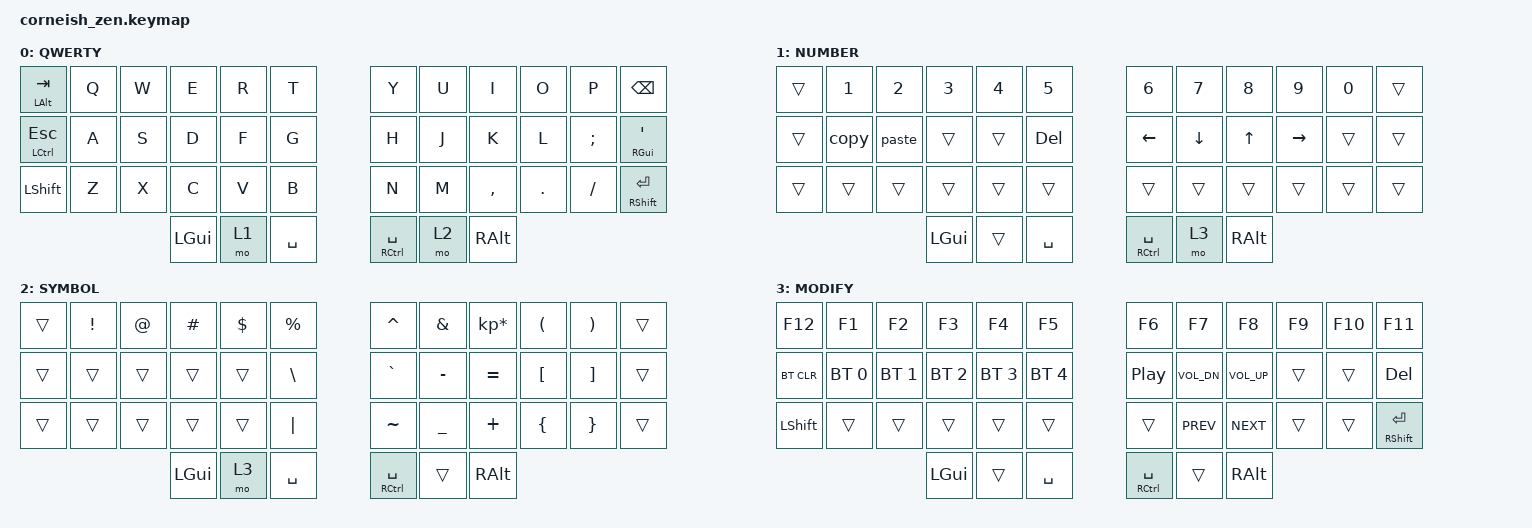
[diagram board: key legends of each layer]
#include <behaviors.dtsi>
#include <dt-bindings/zmk/keys.h>
#include <dt-bindings/zmk/bt.h>

/ {
  chosen {
    zmk,matrix_transform = &default_transform;
  };
};

/ {
    macros {
        paste: paste {
            label = "PASTE";
            compatible = "zmk,behavior-macro";
            #binding-cells = <0>;
            bindings
                = <&macro_press &kp LSHFT>
                , <&macro_tap &kp INS>
                , <&macro_release &kp LSHFT>
                ;
        };
        copy: copy {
            label = "COPY";
            compatible = "zmk,behavior-macro";
            #binding-cells = <0>;
            bindings
                = <&macro_press &kp LCTRL>
                , <&macro_tap &kp INS>
                , <&macro_release &kp LCTRL>
                ;
        };
    };
};

/ {
    behaviors {
        cst: custom_tap {
            label = "Custom Tap";
            compatible = "zmk,behavior-hold-tap";
            flavor = "balanced";
            #binding-cells = <2>;
            tapping-term-ms = <150>;
            quick-tap-ms = <150>;
            require-prior-idle-ms = <125>;
            bindings = <&kp>, <&kp>;
        };
        tp: tap_preferred {
            label = "Tap Preferred";
            compatible = "zmk,behavior-hold-tap";
            flavor = "tap-preferred";
            #binding-cells = <2>;
            tapping-term-ms = <150>;
            quick-tap-ms = <150>;
            require-prior-idle-ms = <125>;
            bindings = <&kp>, <&kp>;
        };
    };
    keymap {
                compatible = "zmk,keymap";

                default_layer {
                        label = "QWERTY";
// -----------------------------------------------------------------------------------------
// | ALTAB|  Q  |  W  |  E  |  R  |  T  |   |  Y  |  U   |  I  |  O  |  P  | BKSP |
// |CTLESC|  A  |  S  |  D  |  F  |  G  |   |  H  |  J   |  K  |  L  |  ;  | GUI' |
// | SHFT |  Z  |  X  |  C  |  V  |  B  |   |  N  |  M   |  ,  |  .  |  /  | SHEN |
//                    | GUI | LWR | SPC |   |CTLSP| RSE  | ALT |
                        bindings = <
&tp LALT TAB    &kp Q   &kp W   &kp E   &kp R   &kp T   &kp Y   &kp U   &kp I     &kp O    &kp P    &kp BSPC
&cst LCTRL ESC   &kp A   &kp S   &kp D   &kp F   &kp G   &kp H   &kp J   &kp K     &kp L    &kp SEMI &tp RGUI SQT
&kp LSHFT       &kp Z   &kp X   &kp C   &kp V   &kp B   &kp N   &kp M   &kp COMMA &kp DOT  &kp FSLH &mt RSHFT RET
                &kp LGUI &mo 1  &kp SPACE  &cst RCTRL SPACE   &mo 2   &kp RALT
                        >;
                };
                lower_layer {
                        label = "NUMBER";
// -----------------------------------------------------------------------------------------
// |      |  1  |  2  |  3  |  4  |  5  |   |  6  |  7  |  8  |  9  |  0  |      |
// |      | COPY|PASTE|     |     | DEL |   | LFT | DWN |  UP | RGT |     |      |
// |      |     |     |     |     |     |   |     |     |     |     |     |      |
//                    | GUI |     | SPC |   |CTLSP| MOD | ALT |
                        bindings = <
&trans  &kp N1  &kp N2   &kp N3  &kp N4   &kp N5    &kp N6    &kp N7    &kp N8  &kp N9     &kp N0  &trans
&trans  &copy   &paste   &trans  &trans   &kp DEL   &kp LEFT  &kp DOWN  &kp UP  &kp RIGHT  &trans  &trans
&trans  &trans  &trans   &trans  &trans   &trans    &trans    &trans    &trans  &trans     &trans  &trans
                &kp LGUI     &trans       &kp SPACE      &cst RCTRL SPACE  &mo 3   &kp RALT
                        >;
                };

                raise_layer {
                        label = "SYMBOL";
// -----------------------------------------------------------------------------------------
// |      |  !  |  @  |  #  |  $  |  %  |   |  ^  |  &  |  *  |  (  |  )  |      |
// |      |     |     |     |     |  \  |   |  `  |  -  |  =  |  [  |  ]  |      |
// |      |     |     |     |     | "|" |   |  ~  |  _  |  +  |  {  |  }  |      |
//                    | GUI | MOD | SPC |   |CTLSP|     | ALT |
                        bindings = <
&trans &kp EXCL &kp AT  &kp HASH  &kp DLLR  &kp PRCNT  &kp CARET  &kp AMPS  &kp KP_MULTIPLY  &kp LPAR  &kp RPAR  &trans
&trans &trans   &trans  &trans    &trans    &kp BSLH   &kp GRAVE  &kp MINUS &kp EQUAL        &kp LBKT  &kp RBKT  &trans
&trans &trans   &trans  &trans    &trans    &kp PIPE   &kp TILDE  &kp UNDER &kp PLUS         &kp LBRC  &kp RBRC  &trans
                        &kp LGUI &mo 3   &kp SPACE   &cst RCTRL SPACE   &trans    &kp RALT
                        >;
                };

                mod_layer {
                        label = "MODIFY";
// -----------------------------------------------------------------------------------------
// |  F12 | F1  | F2  | F3  | F4  | F5  |   | F6  | F7  | F8  | F9  | F10 | F11  |
// | BTCLR| BT1 | BT2 | BT3 | BT4 | BT5 |   | P/P | VDN | VUP |     |     | DEL  |
// | SHFT |     |     |     |     |     |   |     | PRV | NXT |     |     | SHEN |
//                    | GUI |     | SPC |   |CTLSP|     | ALT |
                        bindings = <
&kp F12     &kp F1       &kp F2        &kp F3        &kp F4        &kp F5        &kp F6     &kp F7        &kp F8        &kp F9  &kp F10 &kp F11
&bt BT_CLR  &bt BT_SEL 0 &bt BT_SEL 1  &bt BT_SEL 2  &bt BT_SEL 3  &bt BT_SEL 4  &kp C_PP   &kp C_VOL_DN  &kp C_VOL_UP  &trans  &trans  &kp DEL
&kp LSHFT   &trans       &trans        &trans        &trans        &trans        &trans     &kp C_PREV    &kp C_NEXT    &trans  &trans  &mt RSHFT RET
                &kp LGUI     &trans       &kp SPACE      &cst RCTRL SPACE  &trans   &kp RALT
                        >;
                };
        };
};
